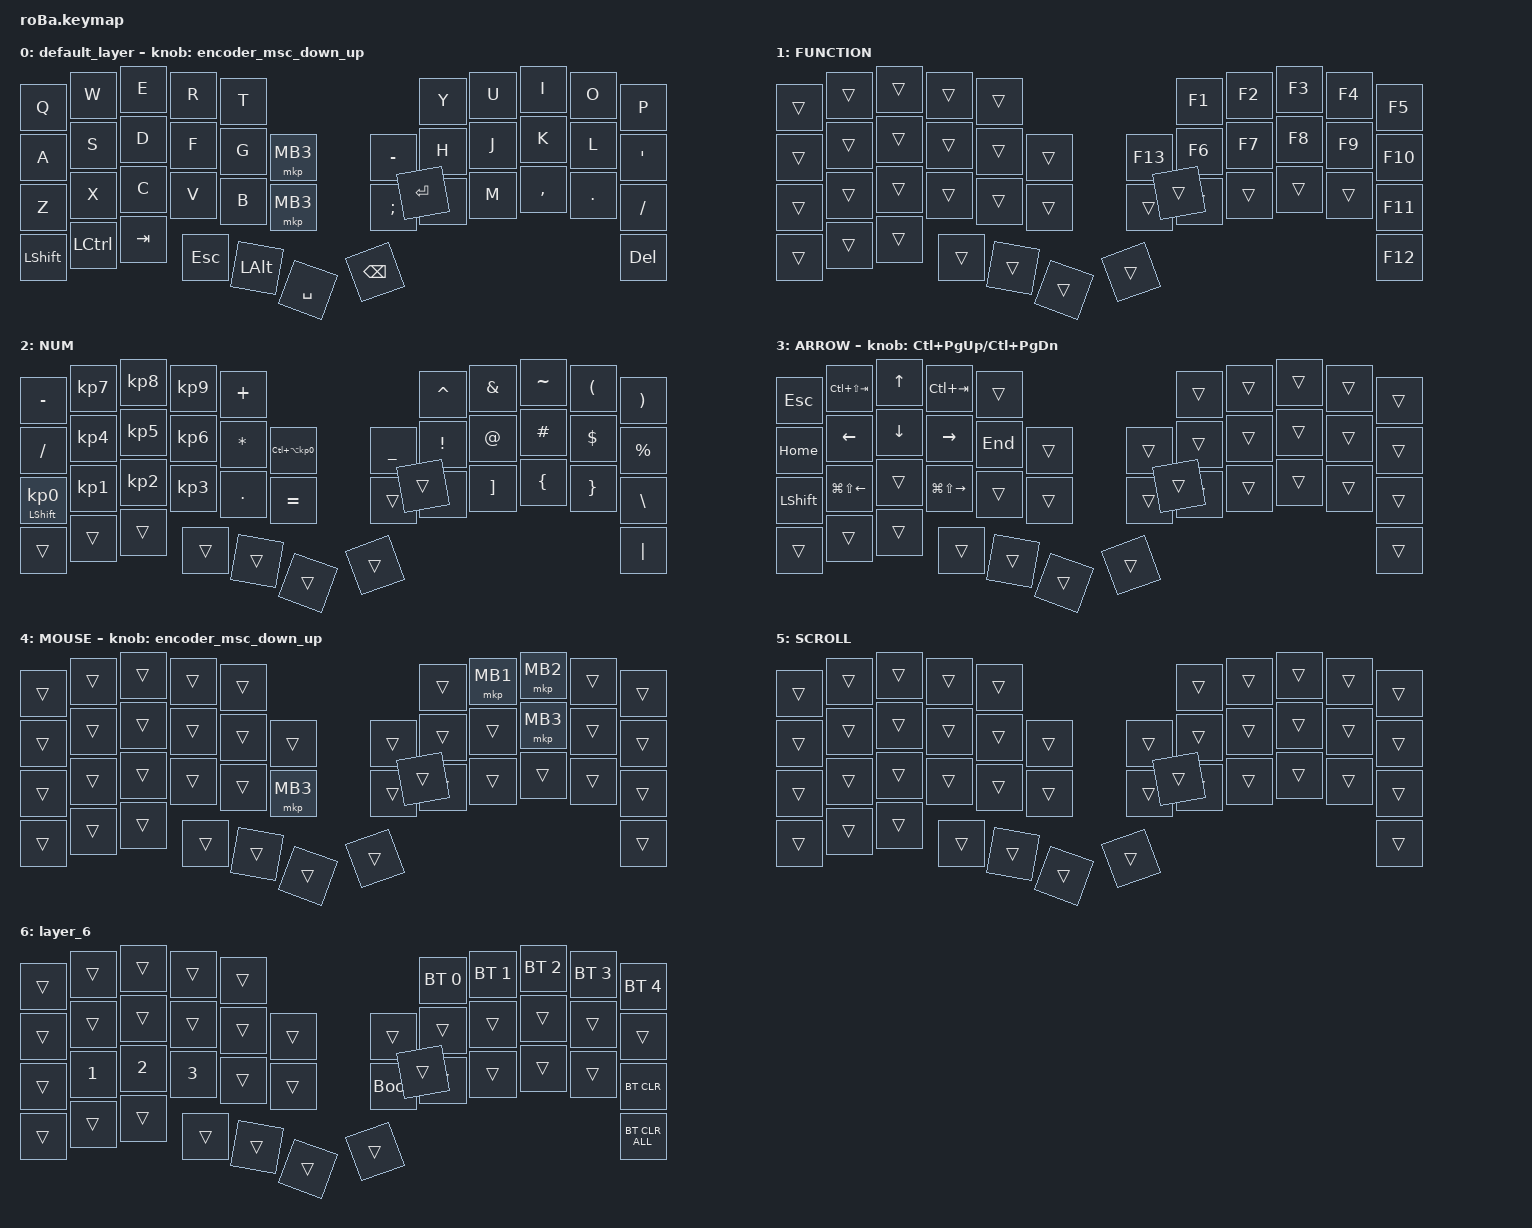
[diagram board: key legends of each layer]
#include <behaviors.dtsi>
#include <dt-bindings/zmk/bt.h>
#include <dt-bindings/zmk/keys.h>
#include <dt-bindings/zmk/pointing.h>

#define ZMK_POINTING_DEFAULT_SCRL_VAL 80

&mt {
    flavor = "balanced";
    quick-tap-ms = <0>;
};

&trackball {
    automouse-layer = <4>;
    scroll-layers = <5>;

    // arrows {
    //     layers = <3>;
    //     bindings =
    //         <&kp RIGHT_ARROW>,
    //         <&kp LEFT_ARROW>,
    //         <&kp UP_ARROW>,
    //         <&kp DOWN_ARROW>;
    //     tick = <10>;
    //     wait-ms = <5>;
    //     tap-ms = <5>;
    // };
};

/ {
    combos {
        compatible = "zmk,combos";

        one {
            bindings = <&kp NUMBER_1>;
            key-positions = <6 7>;
        };

        two {
            bindings = <&kp NUMBER_2>;
            key-positions = <18 19>;
        };

        three {
            bindings = <&kp NUMBER_3>;
            key-positions = <30 31>;
        };

        HankakuZenkaku {
            bindings = <&kp LANG_ZENKAKUHANKAKU>;
            key-positions = <37 41>;
        };
    };

    macros {
        to_layer_0: to_layer_0 {
            compatible = "zmk,behavior-macro-one-param";
            #binding-cells = <1>;
            bindings = <&to 0 &macro_param_1to1 &kp MACRO_PLACEHOLDER>;
            label = "TO_LAYER_0";
        };

        mkp_exit_AML: mkp_exit__AML {
            compatible = "zmk,behavior-macro-one-param";
            #binding-cells = <1>;
            bindings =
                <&macro_press>,
                <&macro_param_1to1 &mkp MACRO_PLACEHOLDER>,
                <&macro_pause_for_release>,
                <&macro_release>,
                <&macro_param_1to1 &mkp MACRO_PLACEHOLDER>;

            label = "MKP_EXIT_AML";
        };
    };

    behaviors {
        lt_to_layer_0: lt_to_layer_0 {
            compatible = "zmk,behavior-hold-tap";
            label = "LAYER_TAP_TO_0";
            bindings = <&mo>, <&to_layer_0>;

            #binding-cells = <2>;
            tapping-term-ms = <200>;
        };

        encoder_msc_down_up: encoder_msc_down_up {
            compatible = "zmk,behavior-sensor-rotate";
            label = "ENCODER_MSC_DOWN_UP";
            #sensor-binding-cells = <0>;
            bindings = <&msc SCRL_DOWN>, <&msc SCRL_UP>;

            tap-ms = <20>;
        };
    };

    keymap {
        compatible = "zmk,keymap";

        default_layer {
            bindings = <
&kp Q           &kp W      &kp E    &kp R       &kp T                                       &kp Y       &kp U  &kp I      &kp O    &kp P
&kp A           &kp S      &kp D    &kp F       &kp G         &mkp MB3       &kp MINUS      &kp H       &kp J  &kp K      &kp L    &kp SQT
&kp Z           &kp X      &kp C    &kp V       &kp B         &mkp MB3       &kp SEMICOLON  &kp N       &kp M  &kp COMMA  &kp DOT  &kp SLASH
&kp LEFT_SHIFT  &kp LCTRL  &kp TAB  &kp ESCAPE  &kp LEFT_ALT  &kp SPACE      &kp BACKSPACE  &kp RETURN                             &kp DEL
            >;

            sensor-bindings = <&encoder_msc_down_up>;
        };

        FUNCTION {
            bindings = <
&trans  &trans  &trans  &trans  &trans                       &kp F1  &kp F2  &kp F3  &kp F4  &kp F5
&trans  &trans  &trans  &trans  &trans  &trans      &kp F13  &kp F6  &kp F7  &kp F8  &kp F9  &kp F10
&trans  &trans  &trans  &trans  &trans  &trans      &trans   &trans  &trans  &trans  &trans  &kp F11
&trans  &trans  &trans  &trans  &trans  &trans      &trans   &trans                          &kp F12
            >;
        };

        NUM {
            bindings = <
&kp MINUS                   &kp KP_NUMBER_7  &kp KP_NUMBER_8  &kp KP_NUMBER_9  &kp PLUS                                                   &kp CARET         &kp AMPERSAND      &kp TILDE       &kp LEFT_PARENTHESIS  &kp RIGHT_PARENTHESIS
&kp SLASH                   &kp KP_NUMBER_4  &kp KP_NUMBER_5  &kp KP_NUMBER_6  &kp ASTERISK  &kp LC(LA(KP_NUMBER_0))      &kp UNDERSCORE  &kp EXCLAMATION   &kp AT_SIGN        &kp HASH        &kp DOLLAR            &kp PERCENT
&mt LEFT_SHIFT KP_NUMBER_0  &kp KP_NUMBER_1  &kp KP_NUMBER_2  &kp KP_NUMBER_3  &kp PERIOD    &kp EQUAL                    &trans          &kp LEFT_BRACKET  &kp RIGHT_BRACKET  &kp LEFT_BRACE  &kp RIGHT_BRACE       &kp BACKSLASH
&trans                      &trans           &trans           &trans           &trans        &trans                       &trans          &trans                                                                     &kp PIPE
            >;
        };

        ARROW {
            bindings = <
&kp ESCAPE      &kp LC(LS(TAB))         &kp UP_ARROW    &kp LC(TAB)              &trans                       &trans  &trans  &trans  &trans  &trans
&kp HOME        &kp LEFT_ARROW          &kp DOWN_ARROW  &kp RIGHT_ARROW          &kp END  &trans      &trans  &trans  &trans  &trans  &trans  &trans
&kp LEFT_SHIFT  &kp LG(LS(LEFT_ARROW))  &trans          &kp LG(LS(RIGHT_ARROW))  &trans   &trans      &trans  &trans  &trans  &trans  &trans  &trans
&trans          &trans                  &trans          &trans                   &trans   &trans      &trans  &trans                          &trans
            >;

            sensor-bindings = <&inc_dec_kp LC(PAGE_UP) LC(PAGE_DOWN)>;
        };

        MOUSE {
            bindings = <
&trans  &trans  &trans  &trans  &trans                        &trans  &mkp MB1  &mkp MB2  &trans  &trans
&trans  &trans  &trans  &trans  &trans  &trans        &trans  &trans  &trans    &mkp MB3  &trans  &trans
&trans  &trans  &trans  &trans  &trans  &mkp MB3      &trans  &trans  &trans    &trans    &trans  &trans
&trans  &trans  &trans  &trans  &trans  &trans        &trans  &trans                              &trans
            >;

            sensor-bindings = <&encoder_msc_down_up>;
        };

        SCROLL {
            bindings = <
&trans  &trans  &trans  &trans  &trans                      &trans  &trans  &trans  &trans  &trans
&trans  &trans  &trans  &trans  &trans  &trans      &trans  &trans  &trans  &trans  &trans  &trans
&trans  &trans  &trans  &trans  &trans  &trans      &trans  &trans  &trans  &trans  &trans  &trans
&trans  &trans  &trans  &trans  &trans  &trans      &trans  &trans                          &trans
            >;
        };

        layer_6 {
            bindings = <
&trans  &trans        &trans        &trans        &trans                           &bt BT_SEL 0  &bt BT_SEL 1  &bt BT_SEL 2  &bt BT_SEL 3  &bt BT_SEL 4
&trans  &trans        &trans        &trans        &trans  &trans      &trans       &trans        &trans        &trans        &trans        &trans
&trans  &kp NUMBER_1  &kp NUMBER_2  &kp NUMBER_3  &trans  &trans      &bootloader  &trans        &trans        &trans        &trans        &bt BT_CLR
&trans  &trans        &trans        &trans        &trans  &trans      &trans       &trans                                                  &bt BT_CLR_ALL
            >;
        };
    };
};
